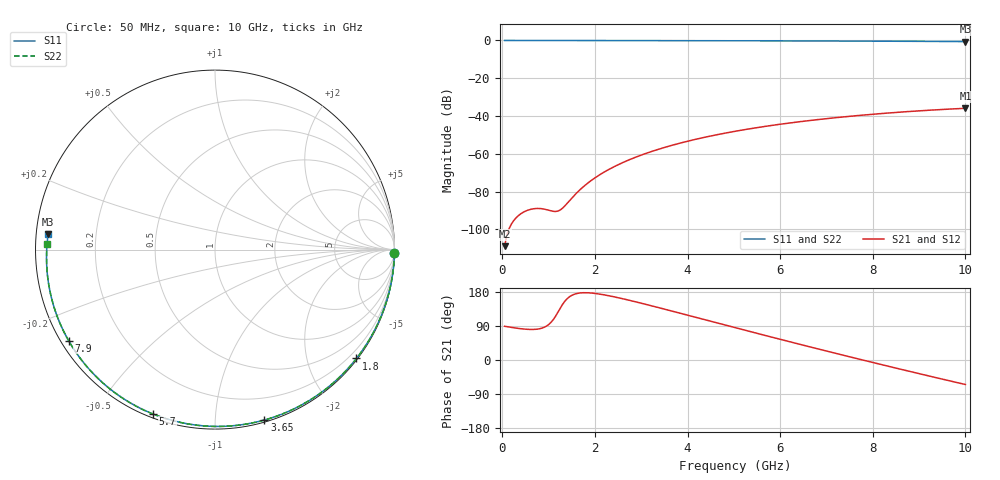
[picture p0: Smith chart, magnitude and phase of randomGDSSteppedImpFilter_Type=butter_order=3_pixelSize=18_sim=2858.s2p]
! freq	dB(S11)	phase(S11)	dB(S12)	phase(S12)
!  dB(S21)	phase(S21)	dB(S22)	phase(S22)
!S-par simulation data
#  GHz  S  DB  R 50
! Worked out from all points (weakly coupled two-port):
!   200 points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, 50 MHz to 10 GHz, reference 50 ohm
!   highest |S21| = -35.90 dB at 10 GHz (marker M1); lowest = -108.8 dB at 50 MHz (marker M2)
!   lowest |S11| = -0.6 dB at 10 GHz (marker M3), VSWR 29.09, Z = 1.72 + j2.34 ohm
!   |S11| at or under -10 dB: nowhere
!   |S22| runs from -0.6 to 0.0 dB; largest |S21 - S12| = 0
!   S11 on the Smith chart (normalised r, x): 50 MHz: open; 1.8 GHz: 0.03, -2.94; 3.65 GHz: 0.02, -1.33; 5.7 GHz: 0.02, -0.69; 7.9 GHz: 0.02, -0.28; 10 GHz: 0.03, +0.05
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0.05  -0.00 -1.1  -108.84 89.0  -108.84 89.0  -0.00 -1.1
0.4  -0.01 -8.5  -91.69 82.5  -91.69 82.5  -0.01 -8.6
0.8  -0.02 -16.9  -88.91 82.4  -88.91 82.4  -0.02 -17.0
1.6  -0.04 -33.5  -80.82 175.1  -80.82 175.1  -0.04 -33.7
1.65  -0.04 -34.5  -79.62 176.4  -79.62 176.4  -0.04 -34.7
1.75  -0.05 -36.6  -77.39 177.5  -77.39 177.5  -0.05 -36.7
1.8  -0.05 -37.6  -76.36 177.6  -76.36 177.6  -0.05 -37.7
2.1  -0.06 -43.7  -71.11 174.0  -71.11 174.0  -0.06 -43.8
2.45  -0.07 -50.6  -66.36 165.8  -66.36 165.8  -0.06 -50.8
2.9  -0.08 -59.5  -61.57 152.9  -61.57 152.9  -0.08 -59.6
3.4  -0.09 -69.1  -57.36 137.5  -57.36 137.5  -0.09 -69.2
3.65  -0.10 -73.8  -55.57 129.5  -55.57 129.5  -0.10 -73.9
4.35  -0.12 -86.8  -51.33 107.1  -51.33 107.1  -0.12 -86.8
5.05  -0.15 -99.4  -47.96 84.7  -47.96 84.7  -0.15 -99.2
5.7  -0.19 -110.7  -45.38 64.0  -45.38 64.0  -0.18 -110.3
6.2  -0.22 -119.3  -43.68 48.4  -43.68 48.4  -0.21 -118.7
6.7  -0.25 -127.8  -42.18 32.9  -42.18 32.9  -0.24 -127.0
7.3  -0.30 -138.0  -40.61 14.5  -40.61 14.5  -0.29 -136.9
7.9  -0.35 -148.2  -39.25 -3.6  -39.25 -3.6  -0.34 -146.7
8.35  -0.40 -155.9  -38.36 -17.0  -38.36 -17.0  -0.38 -154.0
9.2  -0.49 -170.7  -36.93 -41.8  -36.93 -41.8  -0.48 -168.2
10  -0.60 174.6  -35.90 -64.7  -35.90 -64.7  -0.58 178.1
